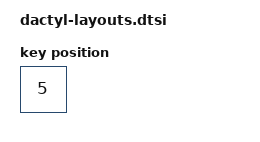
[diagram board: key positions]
#include <physical_layouts.dtsi>

/ {
  dactyl_physical_layout: dactyl_physical_layout {
	compatible = "zmk,physical-layout";
	display-name = "Dactyl Default Layout";
	transform = <&default_transform>;
	kscan = <&kscan0>;
	keys
	  //					w	h	x	y	  rot rx  ry
	  = <&key_physical_attrs 100 100	0	0	  0	  0	  0>
	  , <&key_physical_attrs 100 100	0	0	  0	  0	  0>
	  , <&key_physical_attrs 100 100	0	0	  0	  0	  0>
	  , <&key_physical_attrs 100 100	0	0	  0	  0	  0>
	  , <&key_physical_attrs 100 100	0	0	  0	  0	  0>
	  , <&key_physical_attrs 100 100	0	0	  0	  0	  0>
	  ;
  };
};
